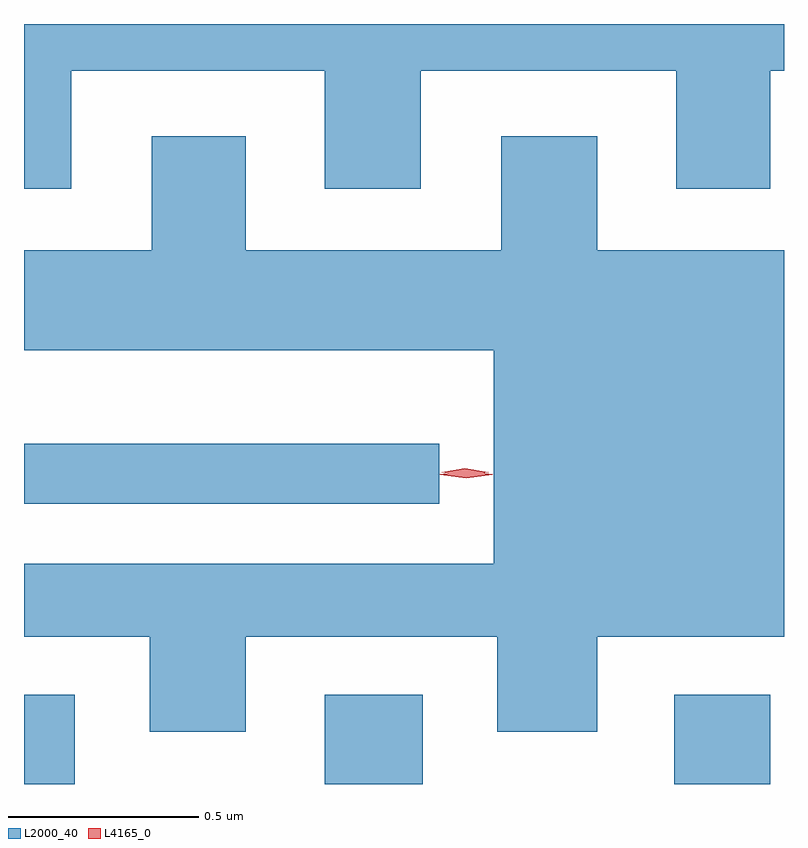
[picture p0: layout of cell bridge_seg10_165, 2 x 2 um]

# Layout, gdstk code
import gdstk
lib = gdstk.Library(unit=1e-6, precision=1e-09)
def R(c, l, rs):  # rectangles x0, y0, x1, y1
    for r in rs: c.add(gdstk.rectangle(r[:2], r[2:], *l))
def P(c, l, *ps):  # polygons
    for p in ps: c.add(gdstk.Polygon(p, *l))
L2000_40 = (2000, 40)
L4165_0 = (4165, 0)

bridge_seg10_165 = lib.new_cell('bridge_seg10_165')
R(bridge_seg10_165, L2000_40, [(1596.605,2120.919,1596.739,2121.154), (1597.396,2120.919,1597.654,2121.154), (1598.316,2120.919,1598.569,2121.154), (1596.605,2121.656,1597.698,2121.814)])
P(bridge_seg10_165, L2000_40, [(1596.729,2122.796),(1597.396,2122.796),(1597.396,2122.486),(1597.649,2122.486),(1597.649,2122.796),(1598.321,2122.796),(1598.321,2122.486),(1598.569,2122.486),(1598.569,2122.796),(1598.605,2122.796),(1598.605,2122.919),(1596.605,2122.919),(1596.605,2122.486),(1596.729,2122.486)],
  [(1597.189,2121.306),(1597.851,2121.306),(1597.851,2121.056),(1598.114,2121.056),(1598.114,2121.306),(1598.605,2121.306),(1598.605,2122.324),(1598.114,2122.324),(1598.114,2122.624),(1597.861,2122.624),(1597.861,2122.324),(1597.189,2122.324),(1597.189,2122.624),(1596.941,2122.624),(1596.941,2122.324),(1596.605,2122.324),(1596.605,2122.061),(1597.841,2122.061),(1597.841,2121.499),(1596.605,2121.499),(1596.605,2121.306),(1596.936,2121.306),(1596.936,2121.056),(1597.189,2121.056)])
P(bridge_seg10_165, L4165_0, [(1597.769,2121.724),(1597.7,2121.733),(1597.699,2121.734),(1597.7,2121.734),(1597.769,2121.744),(1597.837,2121.734),(1597.838,2121.734),(1597.837,2121.733)],
  [(1597.765,2121.73),(1597.704,2121.74),(1597.703,2121.74),(1597.704,2121.74),(1597.765,2121.75),(1597.827,2121.74),(1597.828,2121.74),(1597.827,2121.74)])

lib.write_gds('bridge_seg10_165.gds')
